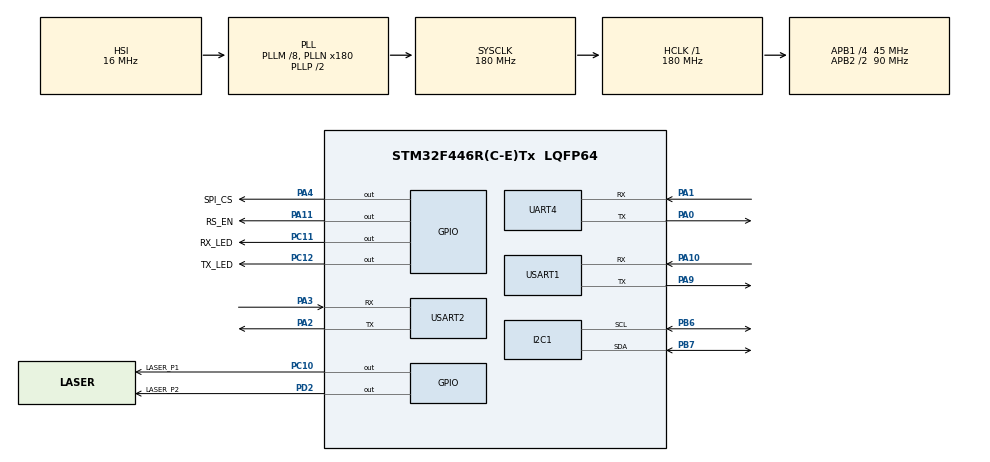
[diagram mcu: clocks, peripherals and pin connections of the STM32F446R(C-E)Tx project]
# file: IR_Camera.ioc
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I2C1.DualAddressMode=I2C_DUALADDRESS_ENABLE
I2C1.I2C_Mode=I2C_Fast
I2C1.OwnAddress=0x1A
I2C1.OwnAddress2=0x50
Mcu.Family=STM32F4
Mcu.Name=STM32F446R(C-E)Tx
Mcu.Package=LQFP64
NVIC.PriorityGroup=NVIC_PRIORITYGROUP_4
NVIC.TIM6_DAC_IRQn=true\:0\:0\:false\:false\:true\:true\:true\:true
NVIC.UART4_IRQn=true\:0\:0\:false\:false\:true\:true\:true\:true
NVIC.USART1_IRQn=true\:0\:0\:false\:false\:true\:true\:true\:true
NVIC.USART2_IRQn=true\:0\:0\:false\:false\:true\:true\:true\:true
PA0-WKUP.Mode=Asynchronous
PA0-WKUP.Signal=UART4_TX
PA1.Mode=Asynchronous
PA1.Signal=UART4_RX
PA10.Mode=Asynchronous
PA10.Signal=USART1_RX
PA11.GPIO_Label=RS_EN
PA11.Signal=GPIO_Output
PA13.Mode=Serial_Wire
PA13.Signal=SYS_JTMS-SWDIO
PA14.Mode=Serial_Wire
PA14.Signal=SYS_JTCK-SWCLK
PA2.Mode=Asynchronous
PA2.Signal=USART2_TX
PA3.Mode=Asynchronous
PA3.Signal=USART2_RX
PA4.GPIO_Label=SPI_CS
PA4.Signal=GPIO_Output
PA9.Mode=Asynchronous
PA9.Signal=USART1_TX
PB6.GPIO_Pu=GPIO_PULLUP
PB6.Mode=I2C
PB6.Signal=I2C1_SCL
PB7.GPIO_Pu=GPIO_PULLUP
PB7.Mode=I2C
PB7.Signal=I2C1_SDA
PC10.GPIO_Label=LASER_P1
PC10.Signal=GPIO_Output
PC11.GPIO_Label=RX_LED
PC11.Signal=GPIO_Output
PC12.GPIO_Label=TX_LED
PC12.Signal=GPIO_Output
PD2.GPIO_Label=LASER_P2
PD2.Signal=GPIO_Output
ProjectManager.HeapSize=0x200
ProjectManager.StackSize=0x400
ProjectManager.TargetToolchain=STM32CubeIDE
RCC.AHBFreq_Value=180000000
RCC.APB1CLKDivider=RCC_HCLK_DIV4
RCC.APB1Freq_Value=45000000
RCC.APB1TimFreq_Value=90000000
RCC.APB2CLKDivider=RCC_HCLK_DIV2
RCC.APB2Freq_Value=90000000
RCC.APB2TimFreq_Value=180000000
RCC.CortexFreq_Value=180000000
RCC.HCLKFreq_Value=180000000
RCC.PLLM=8
RCC.PLLN=180
RCC.SYSCLKFreq_VALUE=180000000
RCC.SYSCLKSource=RCC_SYSCLKSOURCE_PLLCLK
RCC.USBFreq_Value=180000000
RCC.VCOOutputFreq_Value=360000000
TIM6.AutoReloadPreload=TIM_AUTORELOAD_PRELOAD_ENABLE
TIM6.Period=1000
TIM6.Prescaler=18000
UART4.Parity=PARITY_NONE
UART4.VirtualMode=Asynchronous
UART4.WordLength=WORDLENGTH_8B
USART1.VirtualMode=VM_ASYNC
USART2.VirtualMode=VM_ASYNC
VP_TIM6_VS_ClockSourceINT.Mode=Enable_Timer
board=custom

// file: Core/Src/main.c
/* USER CODE BEGIN Header */
/**
  ******************************************************************************
  * @file           : main.c
  * @brief          : Main program body
  ******************************************************************************
  * @attention
  *
  * Copyright (c) 2023 STMicroelectronics.
  * All rights reserved.
  *
  * This software is licensed under terms that can be found in the LICENSE file
  * in the root directory of this software component.
  * If no LICENSE file comes with this software, it is provided AS-IS.
  *
  ******************************************************************************
  */
/* USER CODE END Header */
#include "main.h"
#include "i2c.h"
#include "tim.h"
#include "usart.h"
#include "gpio.h"

/* USER CODE BEGIN Includes */
#include "SerialHandler.h"
#include "MessageHandler.h"
/* USER CODE END Includes */

/* USER CODE BEGIN PD */
#define VREFIN_CAL ((uint16_t*)((uint32_t)0x1FFF7A2A))
/* USER CODE END PD */

void SystemClock_Config(void);
/* USER CODE BEGIN PFP */

void ADC_Average_Measurement_Calculator();
float PT500_Real_Temperature_Value_Calculation();
float Voltage_Conversion();
float Current_Conversion();
void Temperature_Fail_Check();
void Short_Circuit_Check();

extern void setup();
extern void loop(char);
/* USER CODE END PFP */

int main(void)
{

  /* MCU Configuration--------------------------------------------------------*/

  /* Reset of all peripherals, Initializes the Flash interface and the Systick. */
  HAL_Init();

  /* Configure the system clock */
  SystemClock_Config();

  /* Initialize all configured peripherals */
  MX_GPIO_Init();
  MX_UART4_Init();
  MX_USART1_UART_Init();
  MX_USART2_UART_Init();
  MX_TIM6_Init();
  MX_I2C1_Init();
  /* USER CODE BEGIN 2 */

  Init_UartHandler(Init_RS485_Uart, &huart1);
  Init_UartHandler(Init_RS232_Uart, &huart2);
  HAL_TIM_Base_Start_IT(&htim6);
  /* USER CODE END 2 */

  /* Infinite loop */
  /* USER CODE BEGIN WHILE */
  uint32_t tLapTime = 0;

  setup();
  while (1)
  {
	  if(gRS485_CommStruct.writePtr > 0)
	  {
		  loop(gRS485_CommStruct.buffer[0]);
		  UartHandler_ClearBuffer(RS485_Uart_Handler);
	  }

	  read_temp();
	  HandleMessage(&gUSB_CommStruct);

	  if(HAL_GetTick() - tLapTime > 10)
	  {
		  //printf("Hello World!\r\n");

		  HAL_GPIO_TogglePin(LASER_P1_GPIO_Port, LASER_P1_Pin);
		  HAL_GPIO_TogglePin(LASER_P2_GPIO_Port, LASER_P2_Pin);

		  tLapTime = HAL_GetTick();
	  }

    /* USER CODE END WHILE */

  }
}

void SystemClock_Config(void)
{
  RCC_OscInitTypeDef RCC_OscInitStruct = {0};
  RCC_ClkInitTypeDef RCC_ClkInitStruct = {0};

  /** Configure the main internal regulator output voltage
  */
  __HAL_RCC_PWR_CLK_ENABLE();
  __HAL_PWR_VOLTAGESCALING_CONFIG(PWR_REGULATOR_VOLTAGE_SCALE1);

  /** Initializes the RCC Oscillators according to the specified parameters
  * in the RCC_OscInitTypeDef structure.
  */
  RCC_OscInitStruct.OscillatorType = RCC_OSCILLATORTYPE_HSI;
  RCC_OscInitStruct.HSIState = RCC_HSI_ON;
  RCC_OscInitStruct.HSICalibrationValue = RCC_HSICALIBRATION_DEFAULT;
  RCC_OscInitStruct.PLL.PLLState = RCC_PLL_ON;
  RCC_OscInitStruct.PLL.PLLSource = RCC_PLLSOURCE_HSI;
  RCC_OscInitStruct.PLL.PLLM = 8;
  RCC_OscInitStruct.PLL.PLLN = 180;
  RCC_OscInitStruct.PLL.PLLP = RCC_PLLP_DIV2;
  RCC_OscInitStruct.PLL.PLLQ = 2;
  RCC_OscInitStruct.PLL.PLLR = 2;
  if (HAL_RCC_OscConfig(&RCC_OscInitStruct) != HAL_OK)
  {
    Error_Handler();
  }

  /** Activate the Over-Drive mode
  */
  if (HAL_PWREx_EnableOverDrive() != HAL_OK)
  {
    Error_Handler();
  }

  /** Initializes the CPU, AHB and APB buses clocks
  */
  RCC_ClkInitStruct.ClockType = RCC_CLOCKTYPE_HCLK|RCC_CLOCKTYPE_SYSCLK
                              |RCC_CLOCKTYPE_PCLK1|RCC_CLOCKTYPE_PCLK2;
  RCC_ClkInitStruct.SYSCLKSource = RCC_SYSCLKSOURCE_PLLCLK;
  RCC_ClkInitStruct.AHBCLKDivider = RCC_SYSCLK_DIV1;
  RCC_ClkInitStruct.APB1CLKDivider = RCC_HCLK_DIV4;
  RCC_ClkInitStruct.APB2CLKDivider = RCC_HCLK_DIV2;

  if (HAL_RCC_ClockConfig(&RCC_ClkInitStruct, FLASH_LATENCY_5) != HAL_OK)
  {
    Error_Handler();
  }
}

/* USER CODE BEGIN 4 */
void HAL_TIM_PeriodElapsedCallback(TIM_HandleTypeDef *htim)
{
  if(htim == &htim6)
  {
	  HAL_GPIO_WritePin(RX_LED_GPIO_Port, RX_LED_Pin, GPIO_PIN_RESET);
  }
}

/* USER CODE END 4 */

void Error_Handler(void)
{
  __disable_irq();
  while (1)
  {
  }
}
